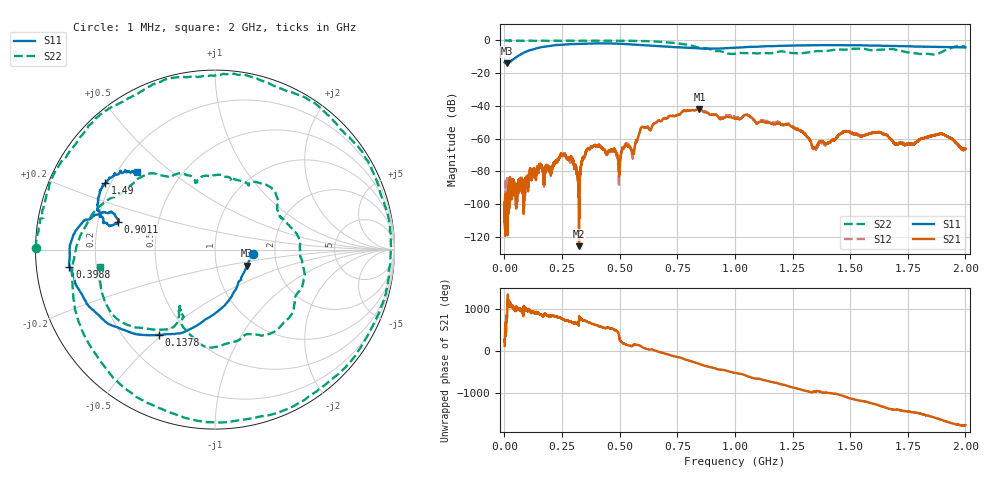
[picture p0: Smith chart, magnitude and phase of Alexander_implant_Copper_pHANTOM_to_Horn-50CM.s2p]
!Siglent Technologies,SNA5004A,SNA5XCED5R0097,V1.0.0.2.15
!Date: 2026-04-30 16:25:08
!Data & Calibration Information:
!Freq	S11:F2(ON)	S21:F2(ON)	S12:F2(ON)	S22:F2(ON)
# Hz S DB R 50
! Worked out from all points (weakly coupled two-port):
!   7001 points, 1 MHz to 2 GHz, reference 50 ohm
!   highest |S21| = -42.04 dB at 846.3 MHz (marker M1); lowest = -125.7 dB at 323.7 MHz (marker M2)
!   lowest |S11| = -14.0 dB at 10.42 MHz (marker M3), VSWR 1.50, Z = 70.1 - j13.1 ohm
!   |S11| at or under -10 dB: start of sweep to 53.12 MHz
!   |S22| runs from -8.6 to 0.0 dB; largest |S21 - S12| = 0.00062
!   S11 on the Smith chart (normalised r, x): 1 MHz: 1.54, -0.08; 137.8 MHz: 0.35, -0.49; 398.8 MHz: 0.10, -0.06; 901.1 MHz: 0.29, +0.13; 1.49 GHz: 0.18, +0.27; 2 GHz: 0.28, +0.38
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1000000  -13.38 -6.4  -99.15 121.7  -115.55 -155.2  -0.01 179.6
1.042386e7  -14.03 -26.8  -99.54 -35.6  -96.61 9.4  -0.05 175.4
1.377887e8  -4.92 -123.2  -82.61 -158.9  -80.92 -153.9  -0.27 118.2
2.54873e8  -2.55 -151.0  -70.20 34.4  -70.05 34.2  -0.27 66.7
3.236957e8  -2.07 -163.2  -125.74 17.2  -94.16 -44.7  -0.17 36.5
3.342619e8  -1.97 -165.0  -74.16 34.0  -75.47 33.6  -0.15 32.1
3.98801e8  -1.76 -173.3  -64.53 -106.4  -64.02 -107.3  -0.14 4.3
4.953241e8  -1.99 174.7  -76.89 57.3  -81.07 61.4  -0.18 -39.7
5.210256e8  -2.15 172.0  -65.02 173.2  -64.35 173.1  -0.25 -51.2
5.572931e8  -2.50 167.7  -68.92 138.9  -71.73 127.7  -0.24 -68.8
5.952741e8  -2.82 166.6  -53.02 105.0  -53.22 106.8  -0.32 -86.8
6.675237e8  -3.44 162.9  -48.93 -10.9  -49.07 -8.1  -0.73 -124.1
7.537663e8  -4.18 160.3  -45.53 -142.8  -45.50 -143.7  -1.83 -169.1
8.462914e8  -4.85 162.5  -42.04 56.6  -41.86 59.5  -4.36 148.2
9.011211e8  -5.01 164.0  -45.39 -25.9  -45.28 -25.1  -5.87 125.7
1.0005e9  -4.42 167.4  -47.87 -154.6  -46.74 -157.5  -8.08 104.5
1.235811e9  -3.18 160.4  -51.66 -115.0  -50.91 -119.3  -7.49 34.9
1.333762e9  -2.95 156.0  -63.94 110.5  -64.37 104.5  -6.97 14.5
1.489969e9  -2.92 148.8  -55.65 -17.4  -55.26 -18.6  -5.47 -33.4
1.667024e9  -3.32 140.2  -59.09 80.4  -58.90 80.9  -5.35 -88.0
1.89748e9  -4.03 136.5  -57.07 174.8  -57.16 171.5  -7.07 -117.5
2e9  -4.25 135.4  -66.37 48.2  -66.57 43.4  -3.75 -171.3
